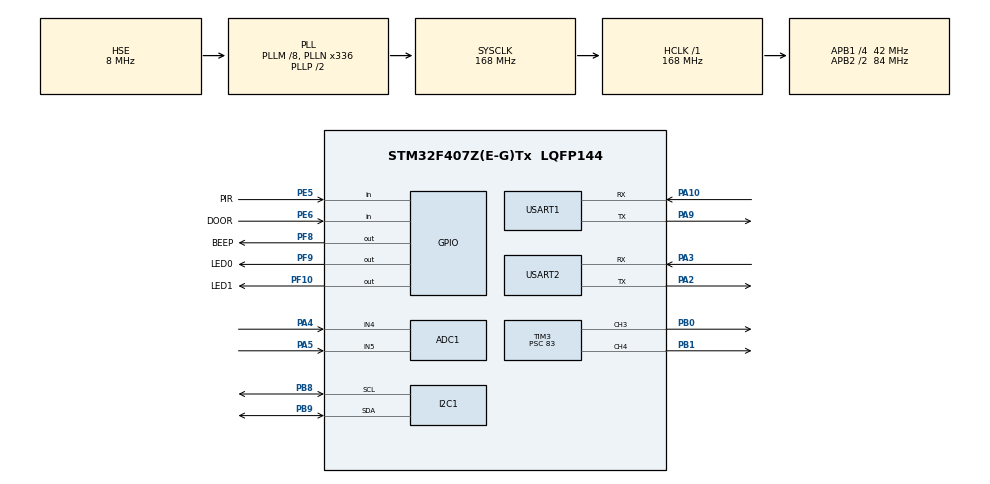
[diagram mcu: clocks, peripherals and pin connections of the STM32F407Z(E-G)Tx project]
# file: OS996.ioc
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ADC1.Channel-0\#ChannelRegularConversion=ADC_CHANNEL_4
ADC1.Channel-3\#ChannelRegularConversion=ADC_CHANNEL_5
ADC1.ContinuousConvMode=ENABLE
ADC1.DMAContinuousRequests=ENABLE
ADC1.DiscontinuousConvMode=DISABLE
ADC1.EnableAnalogWatchDog=false
ADC1.InjNumberOfConversion=0
ADC1.NbrOfConversion=2
ADC1.NbrOfConversionFlag=1
ADC1.Rank-0\#ChannelRegularConversion=1
ADC1.Rank-3\#ChannelRegularConversion=2
ADC1.SamplingTime-0\#ChannelRegularConversion=ADC_SAMPLETIME_84CYCLES
ADC1.SamplingTime-3\#ChannelRegularConversion=ADC_SAMPLETIME_84CYCLES
ADC1.ScanConvMode=ENABLE
ADC1.master=1
Dma.ADC1.2.Direction=DMA_PERIPH_TO_MEMORY
Dma.ADC1.2.FIFOMode=DMA_FIFOMODE_DISABLE
Dma.ADC1.2.Instance=DMA2_Stream0
Dma.ADC1.2.MemDataAlignment=DMA_MDATAALIGN_HALFWORD
Dma.ADC1.2.MemInc=DMA_MINC_ENABLE
Dma.ADC1.2.Mode=DMA_CIRCULAR
Dma.ADC1.2.PeriphDataAlignment=DMA_PDATAALIGN_HALFWORD
Dma.ADC1.2.PeriphInc=DMA_PINC_DISABLE
Dma.ADC1.2.Priority=DMA_PRIORITY_LOW
Dma.Request0=USART2_RX
Dma.Request1=USART2_TX
Dma.Request2=ADC1
Dma.USART2_RX.0.Direction=DMA_PERIPH_TO_MEMORY
Dma.USART2_RX.0.FIFOMode=DMA_FIFOMODE_DISABLE
Dma.USART2_RX.0.Instance=DMA1_Stream5
Dma.USART2_RX.0.MemDataAlignment=DMA_MDATAALIGN_BYTE
Dma.USART2_RX.0.MemInc=DMA_MINC_ENABLE
Dma.USART2_RX.0.Mode=DMA_CIRCULAR
Dma.USART2_RX.0.PeriphDataAlignment=DMA_PDATAALIGN_BYTE
Dma.USART2_RX.0.PeriphInc=DMA_PINC_DISABLE
Dma.USART2_RX.0.Priority=DMA_PRIORITY_LOW
Dma.USART2_TX.1.Direction=DMA_MEMORY_TO_PERIPH
Dma.USART2_TX.1.FIFOMode=DMA_FIFOMODE_DISABLE
Dma.USART2_TX.1.Instance=DMA1_Stream6
Dma.USART2_TX.1.MemDataAlignment=DMA_MDATAALIGN_BYTE
Dma.USART2_TX.1.MemInc=DMA_MINC_ENABLE
Dma.USART2_TX.1.Mode=DMA_NORMAL
Dma.USART2_TX.1.PeriphDataAlignment=DMA_PDATAALIGN_BYTE
Dma.USART2_TX.1.PeriphInc=DMA_PINC_DISABLE
Dma.USART2_TX.1.Priority=DMA_PRIORITY_LOW
FREERTOS.Tasks01=defaultTask,24,128,StartDefaultTask,Default,NULL,Dynamic,NULL,NULL;SensorTask,25,256,StartSensorTask,Default,NULL,Dynamic,NULL,NULL;CommTask,33,512,StartCommTask,Default,NULL,Dynamic,NULL,NULL;DisoalyTask,8,256,StartDisplayTask,Default,NULL,Dynamic,NULL,NULL;AlarmTask,25,256,startAlarmtask,Default,NULL,Dynamic,NULL,NULL
FREERTOS.configCHECK_FOR_STACK_OVERFLOW=2
FREERTOS.configTOTAL_HEAP_SIZE=30720
Mcu.Family=STM32F4
Mcu.Name=STM32F407Z(E-G)Tx
Mcu.Package=LQFP144
NVIC.DMA1_Stream5_IRQn=true\:5\:0\:false\:false\:true\:true\:false\:true\:true
NVIC.DMA1_Stream6_IRQn=true\:5\:0\:false\:false\:true\:true\:false\:true\:true
NVIC.DMA2_Stream0_IRQn=true\:5\:0\:false\:false\:true\:true\:false\:true\:true
NVIC.PriorityGroup=NVIC_PRIORITYGROUP_4
NVIC.TIM6_DAC_IRQn=true\:15\:0\:false\:false\:true\:false\:false\:true\:true
NVIC.TimeBase=TIM6_DAC_IRQn
NVIC.TimeBaseIP=TIM6
NVIC.USART1_IRQn=true\:5\:0\:false\:false\:true\:true\:true\:true\:true
NVIC.USART2_IRQn=true\:5\:0\:false\:false\:true\:true\:true\:true\:true
PA10.Mode=Asynchronous
PA10.Signal=USART1_RX
PA13.Mode=Serial_Wire
PA13.Signal=SYS_JTMS-SWDIO
PA14.Mode=Serial_Wire
PA14.Signal=SYS_JTCK-SWCLK
PA2.Mode=Asynchronous
PA2.Signal=USART2_TX
PA3.Mode=Asynchronous
PA3.Signal=USART2_RX
PA4.Signal=ADCx_IN4
PA5.Signal=ADCx_IN5
PA9.Mode=Asynchronous
PA9.Signal=USART1_TX
PB0.Signal=S_TIM3_CH3
PB1.Signal=S_TIM3_CH4
PB8.Mode=I2C
PB8.Signal=I2C1_SCL
PB9.Mode=I2C
PB9.Signal=I2C1_SDA
PE5.GPIO_Label=PIR
PE5.GPIO_PuPd=GPIO_PULLDOWN
PE5.Signal=GPIO_Input
PE6.GPIO_Label=DOOR
PE6.GPIO_PuPd=GPIO_PULLUP
PE6.Signal=GPIO_Input
PF10.GPIO_Label=LED1
PF10.PinState=GPIO_PIN_SET
PF10.Signal=GPIO_Output
PF8.GPIO_Label=BEEP
PF8.Signal=GPIO_Output
PF9.GPIO_Label=LED0
PF9.PinState=GPIO_PIN_SET
PF9.Signal=GPIO_Output
PH0-OSC_IN.Mode=HSE-External-Oscillator
PH0-OSC_IN.Signal=RCC_OSC_IN
PH1-OSC_OUT.Mode=HSE-External-Oscillator
PH1-OSC_OUT.Signal=RCC_OSC_OUT
ProjectManager.HeapSize=0x200
ProjectManager.StackSize=0x400
ProjectManager.TargetToolchain=CMake
RCC.48MHZClocksFreq_Value=84000000
RCC.AHBFreq_Value=168000000
RCC.APB1CLKDivider=RCC_HCLK_DIV4
RCC.APB1Freq_Value=42000000
RCC.APB1TimFreq_Value=84000000
RCC.APB2CLKDivider=RCC_HCLK_DIV2
RCC.APB2Freq_Value=84000000
RCC.APB2TimFreq_Value=168000000
RCC.CortexFreq_Value=168000000
RCC.HCLKFreq_Value=168000000
RCC.HSE_VALUE=8000000
RCC.HSI_VALUE=16000000
RCC.LSE_VALUE=32768
RCC.PLLM=8
RCC.PLLN=336
RCC.PLLSourceVirtual=RCC_PLLSOURCE_HSE
RCC.SYSCLKFreq_VALUE=168000000
RCC.SYSCLKSource=RCC_SYSCLKSOURCE_PLLCLK
RCC.VCOOutputFreq_Value=336000000
SH.ADCx_IN4.0=ADC1_IN4,IN4
SH.ADCx_IN5.0=ADC1_IN5,IN5
SH.S_TIM3_CH3.0=TIM3_CH3,PWM Generation3 CH3
SH.S_TIM3_CH4.0=TIM3_CH4,PWM Generation4 CH4
TIM3.Channel-PWM\ Generation3\ CH3=TIM_CHANNEL_3
TIM3.Channel-PWM\ Generation4\ CH4=TIM_CHANNEL_4
TIM3.Period=999
TIM3.Prescaler=83
USART1.VirtualMode=VM_ASYNC
USART2.VirtualMode=VM_ASYNC
VP_FREERTOS_VS_CMSIS_V2.Mode=CMSIS_V2
VP_SYS_VS_tim6.Mode=TIM6
board=custom

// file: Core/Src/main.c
/* USER CODE BEGIN Header */
/**
  ******************************************************************************
  * @file           : main.c
  * @brief          : Main program body
  ******************************************************************************
  * @attention
  *
  * Copyright (c) 2026 STMicroelectronics.
  * All rights reserved.
  *
  * This software is licensed under terms that can be found in the LICENSE file
  * in the root directory of this software component.
  * If no LICENSE file comes with this software, it is provided AS-IS.
  *
  ******************************************************************************
  */
/* USER CODE END Header */
#include "main.h"
#include "cmsis_os.h"

/* USER CODE BEGIN Includes */
#include <stdio.h>
#include <string.h>          /* memcpy / memset，协议载荷处理要用 */
#include "bsp_gxht30.h"
#include "bsp_pir.h"
#include "bsp_mq2.h"
#include "app_data.h"
#include "bsp_alarm.h"
#include "bsp_protocol.h"
#include "cJSON.h"
#include "log.h"
/* USER CODE END Includes */

ADC_HandleTypeDef hadc1;
DMA_HandleTypeDef hdma_adc1;

I2C_HandleTypeDef hi2c1;

TIM_HandleTypeDef htim3;

UART_HandleTypeDef huart1;
UART_HandleTypeDef huart2;
DMA_HandleTypeDef hdma_usart2_rx;
DMA_HandleTypeDef hdma_usart2_tx;

/* Definitions for defaultTask */
osThreadId_t defaultTaskHandle;
const osThreadAttr_t defaultTask_attributes = {
  .name = "defaultTask",
  .stack_size = 256 * 4,
  .priority = (osPriority_t) osPriorityNormal,
};
/* Definitions for SensorTask */
osThreadId_t SensorTaskHandle;
const osThreadAttr_t SensorTask_attributes = {
  .name = "SensorTask",
  .stack_size = 768 * 4,
  .priority = (osPriority_t) osPriorityNormal1,
};
/* Definitions for CommTask */
osThreadId_t CommTaskHandle;
const osThreadAttr_t CommTask_attributes = {
  .name = "CommTask",
  .stack_size = 512 * 4,
  .priority = (osPriority_t) osPriorityAboveNormal1,
};
/* Definitions for DisoalyTask */
osThreadId_t DisoalyTaskHandle;
const osThreadAttr_t DisoalyTask_attributes = {
  .name = "DisoalyTask",
  .stack_size = 384 * 4,
  .priority = (osPriority_t) osPriorityLow,
};
/* Definitions for AlarmTask */
osThreadId_t AlarmTaskHandle;
const osThreadAttr_t AlarmTask_attributes = {
  .name = "AlarmTask",
  .stack_size = 768 * 4,
  .priority = (osPriority_t) osPriorityNormal1,
};
/* USER CODE BEGIN PV */

/* 传感器数据队列：SensorTask 发送 → AlarmTask 接收 */
osMessageQueueId_t SensorQueueHandle;

/* 手动控制请求：CommTask（云端指令）写 → AlarmTask 读并合并 */
ctrl_request_t g_ctrl_req;

/* USER CODE END PV */

void SystemClock_Config(void);
static void MX_GPIO_Init(void);
static void MX_DMA_Init(void);
static void MX_USART1_UART_Init(void);
static void MX_USART2_UART_Init(void);
static void MX_ADC1_Init(void);
static void MX_I2C1_Init(void);
static void MX_TIM3_Init(void);
void StartDefaultTask(void *argument);
void StartSensorTask(void *argument);
void StartCommTask(void *argument);
void StartDisplayTask(void *argument);
void startAlarmtask(void *argument);

/* USER CODE BEGIN PFP */

/* 用户函数声明（避免隐式声明警告） */
void i2c_scan(void);

/* 协议帧回调：收到一帧完整且 CRC 正确的帧时，由 proto_rx_poll 内部调用。
 * 注册处：main() 的 USER CODE BEGIN 2 */
static void on_frame_received(uint8_t cmd, const uint8_t *payload, uint16_t len);

/* 处理 CMD_CTRL_DOWN（云端下发的控制指令） */
static void handle_ctrl_down(const uint8_t *payload, uint16_t len);

/* USER CODE END PFP */

int main(void)
{

  /* MCU Configuration--------------------------------------------------------*/

  /* Reset of all peripherals, Initializes the Flash interface and the Systick. */
  HAL_Init();

  /* Configure the system clock */
  SystemClock_Config();

  /* Initialize all configured peripherals */
  MX_GPIO_Init();
  MX_DMA_Init();
  MX_USART1_UART_Init();
  MX_USART2_UART_Init();
  MX_ADC1_Init();
  MX_I2C1_Init();
  MX_TIM3_Init();
  /* USER CODE BEGIN 2 */
  printf("\r\n");
  printf("========================================\r\n");
  printf("  OS996 Smart Home Project\r\n");
  printf("  Build: %s %s\r\n", __DATE__, __TIME__);
  printf("========================================\r\n");
  printf("  SYSCLK  = %lu Hz\r\n", (unsigned long)SystemCoreClock);
  printf("  HAL tick= %lu\r\n", (unsigned long)HAL_GetTick());

   /* 启动 ADC + DMA（必须在 osKernelStart() 之前！）*/
  mq2_init();
  printf("  ADC1+DMA started (MQ-2 gas sensor)\r\n");

  /* ------------------------------------------------------------------
   * 启动 USART2 的 DMA 接收 + 注册帧回调
   * ------------------------------------------------------------------
   * 为什么在调度器启动【之前】就启动 DMA？
   *   ① 外设初始化统一放在 main 里，任务启动时环境已就绪
   *   ② DMA 一启动就开始往环形缓冲区攒数据，
   *      不会因为"任务还没跑起来"而丢掉开头的几帧
   *
   * 为什么这里可以安全地注册回调？
   *   proto_set_handler 只是给一个函数指针赋值，不涉及 RTOS。
   *   回调真正被调用是在 CommTask 的 proto_rx_poll 里。
   * ------------------------------------------------------------------ */
  proto_set_handler(on_frame_received);
  proto_rx_init();
  printf("  USART2 RX armed (protocol parser ready)\r\n");

  /* 启动时扫描一次 I2C 总线，确认 SHT30 在线 */
  //i2c_scan();

  /* USER CODE END 2 */

  /* Init scheduler */
  osKernelInitialize();

  /* USER CODE BEGIN RTOS_MUTEX */
  /* add mutexes, ... */
   /* ------------------------------------------------------------------
   * 创建日志互斥量
   * ------------------------------------------------------------------
   * 为什么放在这里？
   *   ① 必须在 osKernelInitialize() 【之后】
   *      —— osMutexNew 需要内核控制块已初始化
   *   ② 必须在内核中最后一个任务创建【之前】
   *      —— 否则任务一启动就调用 log_printf，拿到 NULL 指针
   *   ③ 必须在 osKernelStart() 【之前】
   *      —— 调度器启动后就不能安全地创建内核对象了
   *
   * 这个位置正好满足全部三个条件。
   * ------------------------------------------------------------------ */
  log_init();
  /* USER CODE END RTOS_MUTEX */

  /* USER CODE BEGIN RTOS_QUEUES */
  /* add queues, ... */
  /* ------------------------------------------------------------------
   * 创建传感器数据队列
   * ------------------------------------------------------------------
   * 参数 1：最多存几个元素 —— 3 个足够（生产者每 50ms 一个，
   *         消费者处理只需几十微秒，几乎不会堆积）
   * 参数 2：每个元素的字节数 —— ★ 用 sizeof 让编译器算，不可能写错
   * 参数 3：NULL = 动态分配
   * ------------------------------------------------------------------ */
  SensorQueueHandle = osMessageQueueNew(3, sizeof(sensor_data_t), NULL);
  if (SensorQueueHandle == NULL) {
      Error_Handler();          /* 堆不够时返回 NULL，必须判空 */
  }
  /* USER CODE END RTOS_QUEUES */

  /* Create the thread(s) */
  /* creation of defaultTask */
  defaultTaskHandle = osThreadNew(StartDefaultTask, NULL, &defaultTask_attributes);

  /* creation of SensorTask */
  SensorTaskHandle = osThreadNew(StartSensorTask, NULL, &SensorTask_attributes);

  /* creation of CommTask */
  CommTaskHandle = osThreadNew(StartCommTask, NULL, &CommTask_attributes);

  /* creation of DisoalyTask */
  DisoalyTaskHandle = osThreadNew(StartDisplayTask, NULL, &DisoalyTask_attributes);

  /* creation of AlarmTask */
  AlarmTaskHandle = osThreadNew(startAlarmtask, NULL, &AlarmTask_attributes);

  /* Start scheduler */
  osKernelStart();

  /* We should never get here as control is now taken by the scheduler */

  /* Infinite loop */
  while (1)
  {

  }
}

void SystemClock_Config(void)
{
  RCC_OscInitTypeDef RCC_OscInitStruct = {0};
  RCC_ClkInitTypeDef RCC_ClkInitStruct = {0};

  /** Configure the main internal regulator output voltage
  */
  __HAL_RCC_PWR_CLK_ENABLE();
  __HAL_PWR_VOLTAGESCALING_CONFIG(PWR_REGULATOR_VOLTAGE_SCALE1);

  /** Initializes the RCC Oscillators according to the specified parameters
  * in the RCC_OscInitTypeDef structure.
  */
  RCC_OscInitStruct.OscillatorType = RCC_OSCILLATORTYPE_HSE;
  RCC_OscInitStruct.HSEState = RCC_HSE_ON;
  RCC_OscInitStruct.PLL.PLLState = RCC_PLL_ON;
  RCC_OscInitStruct.PLL.PLLSource = RCC_PLLSOURCE_HSE;
  RCC_OscInitStruct.PLL.PLLM = 8;
  RCC_OscInitStruct.PLL.PLLN = 336;
  RCC_OscInitStruct.PLL.PLLP = RCC_PLLP_DIV2;
  RCC_OscInitStruct.PLL.PLLQ = 4;
  if (HAL_RCC_OscConfig(&RCC_OscInitStruct) != HAL_OK)
  {
    Error_Handler();
  }

  /** Initializes the CPU, AHB and APB buses clocks
  */
  RCC_ClkInitStruct.ClockType = RCC_CLOCKTYPE_HCLK|RCC_CLOCKTYPE_SYSCLK
                              |RCC_CLOCKTYPE_PCLK1|RCC_CLOCKTYPE_PCLK2;
  RCC_ClkInitStruct.SYSCLKSource = RCC_SYSCLKSOURCE_PLLCLK;
  RCC_ClkInitStruct.AHBCLKDivider = RCC_SYSCLK_DIV1;
  RCC_ClkInitStruct.APB1CLKDivider = RCC_HCLK_DIV4;
  RCC_ClkInitStruct.APB2CLKDivider = RCC_HCLK_DIV2;

  if (HAL_RCC_ClockConfig(&RCC_ClkInitStruct, FLASH_LATENCY_5) != HAL_OK)
  {
    Error_Handler();
  }
}

static void MX_ADC1_Init(void)
{

  ADC_ChannelConfTypeDef sConfig = {0};

  /** Configure the global features of the ADC (Clock, Resolution, Data Alignment and number of conversion)
  */
  hadc1.Instance = ADC1;
  hadc1.Init.ClockPrescaler = ADC_CLOCK_SYNC_PCLK_DIV4;
  hadc1.Init.Resolution = ADC_RESOLUTION_12B;
  hadc1.Init.ScanConvMode = ENABLE;
  hadc1.Init.ContinuousConvMode = ENABLE;
  hadc1.Init.DiscontinuousConvMode = DISABLE;
  hadc1.Init.ExternalTrigConvEdge = ADC_EXTERNALTRIGCONVEDGE_NONE;
  hadc1.Init.ExternalTrigConv = ADC_SOFTWARE_START;
  hadc1.Init.DataAlign = ADC_DATAALIGN_RIGHT;
  hadc1.Init.NbrOfConversion = 2;
  hadc1.Init.DMAContinuousRequests = ENABLE;
  hadc1.Init.EOCSelection = ADC_EOC_SINGLE_CONV;
  if (HAL_ADC_Init(&hadc1) != HAL_OK)
  {
    Error_Handler();
  }

  /** Configure for the selected ADC regular channel its corresponding rank in the sequencer and its sample time.
  */
  sConfig.Channel = ADC_CHANNEL_4;
  sConfig.Rank = 1;
  sConfig.SamplingTime = ADC_SAMPLETIME_84CYCLES;
  if (HAL_ADC_ConfigChannel(&hadc1, &sConfig) != HAL_OK)
  {
    Error_Handler();
  }

  /** Configure for the selected ADC regular channel its corresponding rank in the sequencer and its sample time.
  */
  sConfig.Channel = ADC_CHANNEL_5;
  sConfig.Rank = 2;
  if (HAL_ADC_ConfigChannel(&hadc1, &sConfig) != HAL_OK)
  {
    Error_Handler();
  }

}

static void MX_I2C1_Init(void)
{

  hi2c1.Instance = I2C1;
  hi2c1.Init.ClockSpeed = 100000;
  hi2c1.Init.DutyCycle = I2C_DUTYCYCLE_2;
  hi2c1.Init.OwnAddress1 = 0;
  hi2c1.Init.AddressingMode = I2C_ADDRESSINGMODE_7BIT;
  hi2c1.Init.DualAddressMode = I2C_DUALADDRESS_DISABLE;
  hi2c1.Init.OwnAddress2 = 0;
  hi2c1.Init.GeneralCallMode = I2C_GENERALCALL_DISABLE;
  hi2c1.Init.NoStretchMode = I2C_NOSTRETCH_DISABLE;
  if (HAL_I2C_Init(&hi2c1) != HAL_OK)
  {
    Error_Handler();
  }

}

static void MX_TIM3_Init(void)
{

  TIM_MasterConfigTypeDef sMasterConfig = {0};
  TIM_OC_InitTypeDef sConfigOC = {0};

  htim3.Instance = TIM3;
  htim3.Init.Prescaler = 83;
  htim3.Init.CounterMode = TIM_COUNTERMODE_UP;
  htim3.Init.Period = 999;
  htim3.Init.ClockDivision = TIM_CLOCKDIVISION_DIV1;
  htim3.Init.AutoReloadPreload = TIM_AUTORELOAD_PRELOAD_DISABLE;
  if (HAL_TIM_PWM_Init(&htim3) != HAL_OK)
  {
    Error_Handler();
  }
  sMasterConfig.MasterOutputTrigger = TIM_TRGO_RESET;
  sMasterConfig.MasterSlaveMode = TIM_MASTERSLAVEMODE_DISABLE;
  if (HAL_TIMEx_MasterConfigSynchronization(&htim3, &sMasterConfig) != HAL_OK)
  {
    Error_Handler();
  }
  sConfigOC.OCMode = TIM_OCMODE_PWM1;
  sConfigOC.Pulse = 0;
  sConfigOC.OCPolarity = TIM_OCPOLARITY_HIGH;
  sConfigOC.OCFastMode = TIM_OCFAST_DISABLE;
  if (HAL_TIM_PWM_ConfigChannel(&htim3, &sConfigOC, TIM_CHANNEL_3) != HAL_OK)
  {
    Error_Handler();
  }
  if (HAL_TIM_PWM_ConfigChannel(&htim3, &sConfigOC, TIM_CHANNEL_4) != HAL_OK)
  {
    Error_Handler();
  }
  HAL_TIM_MspPostInit(&htim3);

}

static void MX_USART1_UART_Init(void)
{

  huart1.Instance = USART1;
  huart1.Init.BaudRate = 115200;
  huart1.Init.WordLength = UART_WORDLENGTH_8B;
  huart1.Init.StopBits = UART_STOPBITS_1;
  huart1.Init.Parity = UART_PARITY_NONE;
  huart1.Init.Mode = UART_MODE_TX_RX;
  huart1.Init.HwFlowCtl = UART_HWCONTROL_NONE;
  huart1.Init.OverSampling = UART_OVERSAMPLING_16;
  if (HAL_UART_Init(&huart1) != HAL_OK)
  {
    Error_Handler();
  }

}

static void MX_USART2_UART_Init(void)
{

  huart2.Instance = USART2;
  huart2.Init.BaudRate = 115200;
  huart2.Init.WordLength = UART_WORDLENGTH_8B;
  huart2.Init.StopBits = UART_STOPBITS_1;
  huart2.Init.Parity = UART_PARITY_NONE;
  huart2.Init.Mode = UART_MODE_TX_RX;
  huart2.Init.HwFlowCtl = UART_HWCONTROL_NONE;
  huart2.Init.OverSampling = UART_OVERSAMPLING_16;
  if (HAL_UART_Init(&huart2) != HAL_OK)
  {
    Error_Handler();
  }

}

static void MX_DMA_Init(void)
{

  /* DMA controller clock enable */
  __HAL_RCC_DMA1_CLK_ENABLE();
  __HAL_RCC_DMA2_CLK_ENABLE();

  /* DMA interrupt init */
  /* DMA1_Stream5_IRQn interrupt configuration */
  HAL_NVIC_SetPriority(DMA1_Stream5_IRQn, 5, 0);
  HAL_NVIC_EnableIRQ(DMA1_Stream5_IRQn);
  /* DMA1_Stream6_IRQn interrupt configuration */
  HAL_NVIC_SetPriority(DMA1_Stream6_IRQn, 5, 0);
  HAL_NVIC_EnableIRQ(DMA1_Stream6_IRQn);
  /* DMA2_Stream0_IRQn interrupt configuration */
  HAL_NVIC_SetPriority(DMA2_Stream0_IRQn, 5, 0);
  HAL_NVIC_EnableIRQ(DMA2_Stream0_IRQn);

}

static void MX_GPIO_Init(void)
{
  GPIO_InitTypeDef GPIO_InitStruct = {0};

  /* GPIO Ports Clock Enable */
  __HAL_RCC_GPIOE_CLK_ENABLE();
  __HAL_RCC_GPIOF_CLK_ENABLE();
  __HAL_RCC_GPIOH_CLK_ENABLE();
  __HAL_RCC_GPIOA_CLK_ENABLE();
  __HAL_RCC_GPIOB_CLK_ENABLE();

  /*Configure GPIO pin Output Level */
  HAL_GPIO_WritePin(BEEP_GPIO_Port, BEEP_Pin, GPIO_PIN_RESET);

  /*Configure GPIO pin Output Level */
  HAL_GPIO_WritePin(GPIOF, LED0_Pin|LED1_Pin, GPIO_PIN_SET);

  /*Configure GPIO pin : PIR_Pin */
  GPIO_InitStruct.Pin = PIR_Pin;
  GPIO_InitStruct.Mode = GPIO_MODE_INPUT;
  GPIO_InitStruct.Pull = GPIO_PULLDOWN;
  HAL_GPIO_Init(PIR_GPIO_Port, &GPIO_InitStruct);

  /*Configure GPIO pin : DOOR_Pin */
  GPIO_InitStruct.Pin = DOOR_Pin;
  GPIO_InitStruct.Mode = GPIO_MODE_INPUT;
  GPIO_InitStruct.Pull = GPIO_PULLUP;
  HAL_GPIO_Init(DOOR_GPIO_Port, &GPIO_InitStruct);

  /*Configure GPIO pins : BEEP_Pin LED0_Pin LED1_Pin */
  GPIO_InitStruct.Pin = BEEP_Pin|LED0_Pin|LED1_Pin;
  GPIO_InitStruct.Mode = GPIO_MODE_OUTPUT_PP;
  GPIO_InitStruct.Pull = GPIO_NOPULL;
  GPIO_InitStruct.Speed = GPIO_SPEED_FREQ_LOW;
  HAL_GPIO_Init(GPIOF, &GPIO_InitStruct);

}

/* USER CODE BEGIN 4 */
//#include <stdio.h>

/**
  * @brief  重定向 printf 到 USART1（板载 CH340）
  * @note   syscalls.c 里的 _write() 会调用这个函数，
  *         所以 printf / puts / fwrite 全都会走 USART1
  */
int __io_putchar(int ch)
{
    HAL_UART_Transmit(&huart1, (uint8_t *)&ch, 1, 0xFFFF);
    return ch;
}

/**
  * @brief  扫描 I2C1 总线上所有有应答的设备地址
  * ------------------------------------------------------------------
  * 原理：
  *   I2C 的 7 位地址空间是 1~127。对每个地址尝试一次"空写操作"
  *   （HAL_I2C_IsDeviceReady），如果从机在第 9 位拉低 SDA 应答，
  *   就说明这个地址上有设备。
  *
  * 为什么先写这个而不是直接写 SHT30 驱动：
  *   扫描器不依赖任何具体芯片，能独立验证【接线 / 供电 / 上拉 / 地址】。
  *   扫得到 -> I2C 外设配置正确，之后出错一定是驱动问题。
  *   扫不到 -> 硬件问题，不用去怀疑代码。
  *
  * 本板已知设备：
  *   0x44 = SHT30 温湿度
  *   0x3C = OLED SSD1306（若已接）
  *   0x50 = 板载 24C02 EEPROM
  * ------------------------------------------------------------------
  */
void i2c_scan(void)
{
    #define SCAN_PASSES   3          /* 扫描遍数 */

    uint8_t hits[128] = {0};         /* 每个地址被命中的次数 */
    uint8_t found = 0;

    log_printf("\r\n=== I2C1 bus scan (SCL=PB8, SDA=PB9) ===\r\n");
    log_printf("  scanning %u passes, only addresses that answer EVERY time are real\r\n",
           SCAN_PASSES);

    for (uint8_t pass = 0; pass < SCAN_PASSES; pass++)
    {
        for (uint8_t addr = 1; addr < 128; addr++)
        {
            /* 第 2 个参数要 8 位地址（7 位地址左移 1 位，最低位是 R/W） */
            /* 第 3 个参数 = 尝试次数，第 4 个 = 每次超时(ms) */
            if (HAL_I2C_IsDeviceReady(&hi2c1, (uint16_t)(addr << 1), 2, 10) == HAL_OK)
            {
                hits[addr]++;
            }
        }
        osDelay(50);                 /* 两遍之间歇一下 */
    }

    /* 只报告每次都有应答的地址 —— 那才是真实设备 */
    log_printf("  --- confirmed devices ---\r\n");
    for (uint8_t addr = 1; addr < 128; addr++)
    {
        if (hits[addr] == SCAN_PASSES)
        {
            log_printf("  0x%02X  (7-bit)   answered %u/%u\r\n",
                   addr, hits[addr], SCAN_PASSES);
            found++;
        }
    }

    /* 偶尔应答的，单独列出来 —— 这些是总线误判或干扰 */
    log_printf("  --- unreliable (ghost) addresses ---\r\n");
    {
        uint8_t ghost = 0;
        for (uint8_t addr = 1; addr < 128; addr++)
        {
            if (hits[addr] > 0 && hits[addr] < SCAN_PASSES)
            {
                log_printf("  0x%02X  (7-bit)   answered %u/%u  <-- NOT a real device\r\n",
                       addr, hits[addr], SCAN_PASSES);
                ghost++;
            }
        }
        if (ghost == 0) log_printf("  (none - bus is clean)\r\n");
    }

    if (found == 0)
    {
        log_printf("  NO confirmed device!\r\n");
        log_printf("  check: VCC=3.3V / SCL=PB8 / SDA=PB9 / GND\r\n");
    }
    else
    {
        log_printf("  total: %u confirmed device(s)\r\n", found);
    }

    log_printf("=== scan done ===\r\n\r\n");
}

/* ==================================================================
 *  协议帧接收处理（阶段 2）
 * ==================================================================
 *  调用链：
 *      USART2 ──DMA──> 环形缓冲区
 *                          │
 *                    CommTask: proto_rx_poll()
 *                          │
 *                    解析状态机（找帧头→CMD→LEN→载荷→CRC）
 *                          │ CRC 正确
 *                          ▼
 *                    on_frame_received()   ← 本函数
 *                          │
 *                    按 CMD 分派
 *                          ▼
 *                    handle_ctrl_down() → 写 g_ctrl_req
 *                          │
 *                    AlarmTask 读取并合并到执行器输出
 * ================================================================== */

/**
  * @brief  收到一帧完整且 CRC 正确的帧
  * @param  cmd     指令类型
  * @param  payload 载荷（★ 不是 '\0' 结尾）
  * @param  len     载荷长度
  * @note   本函数在 CommTask 上下文里执行，可以直接用 log_printf。
  */
static void on_frame_received(uint8_t cmd, const uint8_t *payload, uint16_t len)
{
    log_printf("[RX] <<< frame: cmd=0x%02X len=%u\r\n",
               (unsigned)cmd, (unsigned)len);

    /* 载荷是 JSON 文本，用 %.*s 打印（精度限制长度，
     * 这样即使 payload 不是 '\0' 结尾也不会读越界） */
    if (len > 0U) {
        log_printf("[RX]     payload: %.*s\r\n", (int)len, (const char *)payload);
    }

    switch (cmd)
    {
    case CMD_CTRL_DOWN:
        handle_ctrl_down(payload, len);
        break;

    case CMD_SENSOR_UP:
        /* 收到自己发出去的数据（回显测试时会走到这里）——
         * 说明解析链路正常，不需要处理内容，打一条日志即可 */
        log_printf("[RX]     (sensor frame looped back - parser OK)\r\n");
        break;

    case CMD_ACK:
    case CMD_HEARTBEAT:
        log_printf("[RX]     (ack/heartbeat, no action)\r\n");
        break;

    default:
        log_printf("[RX]     unknown cmd 0x%02X, ignored\r\n", (unsigned)cmd);
        break;
    }
}

/**
  * @brief  处理 CMD_CTRL_DOWN：云端下发的控制指令
  * @param  payload JSON 文本，例如 {"beep":1} 或 {"led":1,"beep":1}
  * @param  len     载荷长度
  * @note   不直接操作 GPIO —— 只写 g_ctrl_req，
  *         由 AlarmTask 统一决定执行器输出（避免资源竞争）。
  */
static void handle_ctrl_down(const uint8_t *payload, uint16_t len)
{
    /* ★ 必须用 static 而不是栈上数组：
     *   FRAME_MAX_PAYLOAD+1 = 201 字节，放栈上会让 CommTask 的
     *   栈瞬间少 201 字节；static 直接放在 .bss 里，零栈开销。
     *   （只有 CommTask 一个任务调用本函数，所以 static 也安全）*/
    static char s_json[FRAME_MAX_PAYLOAD + 1U];

    if (len > FRAME_MAX_PAYLOAD) {
        log_printf("[CTRL] payload too long (%u)\r\n", (unsigned)len);
        return;
    }

    /* cJSON 要求以 '\0' 结尾的字符串，但 payload 不是 —— 先拷贝补齐 */
    memcpy(s_json, payload, len);
    s_json[len] = '\0';

    cJSON *root = cJSON_Parse(s_json);
    if (root == NULL) {
        log_printf("[CTRL] JSON parse FAILED: %s\r\n", s_json);
        return;
    }

    /* ---- 取字段。用 GetObjectItem 而不是直接下标，
     *      因为字段可能不存在（cJSON 会返回 NULL）---- */
    cJSON *j_beep = cJSON_GetObjectItem(root, "beep");
    cJSON *j_led  = cJSON_GetObjectItem(root, "led");

    int beep = cJSON_IsNumber(j_beep) ? (int)j_beep->valuedouble : -1;
    int led  = cJSON_IsNumber(j_led)  ? (int)j_led->valuedouble  : -1;

    log_printf("[CTRL] parsed: beep=%d led=%d\r\n", beep, led);

    /* ---- 写入控制请求（由 AlarmTask 消费）----
     *
     * 为什么用"剩余周期数"而不是直接置 1/0：
     *   如果用户发 {"beep":1} 后忘了发 {"beep":0}，
     *   蜂鸣器会一直响。用定时脉冲（响 3 秒自动停）更安全，
     *   也符合"远程测试一下"的真实使用场景。
     *
     * 3 秒 = 3000ms ÷ 50ms/周期 = 60 个周期 */
    if (beep == 1) {
        g_ctrl_req.beep_remain = 60;      /* 响 3 秒 */
        log_printf("[CTRL] -> buzzer ON for 3s\r\n");
    } else if (beep == 0) {
        g_ctrl_req.beep_remain = 0;       /* 立即停 */
        log_printf("[CTRL] -> buzzer OFF\r\n");
    }

    if (led == 1) {
        g_ctrl_req.led_remain = 60;       /* 红灯亮 3 秒 */
        log_printf("[CTRL] -> red LED ON for 3s\r\n");
    } else if (led == 0) {
        g_ctrl_req.led_remain = 0;
        log_printf("[CTRL] -> red LED OFF\r\n");
    }

    cJSON_Delete(root);                   /* ★ 必须释放，否则每帧泄漏约 500 字节 */
}
/* USER CODE END 4 */

void StartDefaultTask(void *argument)
{
  /* USER CODE BEGIN 5 */
  /* ------------------------------------------------------------------
   * V1 验证：LED 闪烁测试
   * ------------------------------------------------------------------
   * 目的：验证「代码真的在跑 + GPIO 输出正常 + 时钟 / FreeRTOS 正常」
   *
   * 硬件（正点原子探索者 V3）：
   *   PF9  -> DS0（红色 LED）
   *   PF10 -> DS1（绿色 LED）
   *   均为低电平点亮（active-low），所以：
   *       HAL_GPIO_WritePin(..., GPIO_PIN_RESET)  -> 亮
   *       HAL_GPIO_WritePin(..., GPIO_PIN_SET)    -> 灭
   *
   * 现象：两个 LED 以 500ms 为半周期交替闪烁
   *   t=0.0s  DS0 亮  DS1 灭
   *   t=0.5s  DS0 灭  DS1 亮
   *   t=1.0s  DS0 亮  DS1 灭   ... 循环
   *
   * 注意：必须用 osDelay()，不能用 HAL_Delay()
   *       —— HAL 的时基已经换成 TIM6，但仍然应该让出 CPU 给其他任务
   * ------------------------------------------------------------------ */

  log_printf("[DefaultTask] started,stack free = %u words\r\n",
        (unsigned)uxTaskGetStackHighWaterMark(NULL));

  for(;;)
  {

    osDelay(1000);   /* 1000ms */
  }
  /* USER CODE END 5 */
}

void StartSensorTask(void *argument)
{
  /* USER CODE BEGIN StartSensorTask */
  // Infinite loop
  uint16_t gas_raw = 0;
  //float    gas_v = 0.0f;
  uint16_t gas_flt = 0;
  float    temp = 0.0f;
  float    humi = 0.0f;
  int      pir_state = PIR_NO_MOTION;
  uint32_t tick_cnt = 0;
  uint32_t ok = 0, err_i2c = 0, err_crc = 0;   // 统计三种结果出现次数
  sensor_data_t tx;                            /* 要发送的数据 */
  //uint16_t gas_raw_local = 0;

  log_printf("[SensorTask] started, stack free = %lu words\r\n",
       (unsigned long)uxTaskGetStackHighWaterMark(NULL));

   /* ================================================================
   * PIR 预热阶段
   * ================================================================
   * HC-SR501 手册："通电后有一分钟左右的初始化时间，在此期间模块会
   * 间隔地输出 0-3 次，一分钟后进入待机状态。"
   *
   * 所以这 60 秒内必须【丢弃】PIR 的读数，否则会误报"有人"。
   * 注意这里仍然调用 pir_read() —— 让内部状态机正常运转，
   * 只是不打印结果。
   * ================================================================ */

  log_printf("[SensorTask] PIR warming up, please wait 60s...\r\n");

  /*for (uint32_t i = 0; i < 60; i++)
  {
      pir_read();          // 让状态机跑，但结果不输出
      osDelay(1000);
  }

  //预热结束，重置状态
  pir_reset();
  pir_state = PIR_NO_MOTION;*/

  uint32_t warmup_cnt = 0;
  int warming_up = 1;

  for(;;)
  {
    if(warming_up){
      pir_read();
      if(++warmup_cnt >= 1200){
        warming_up = 0;
        pir_reset();
        log_printf("[SensorTask] PIR ready\r\n");
        }
      }else{
        //50ms读一次PIR
        int now = pir_read();
        if(now != pir_state){
        pir_state = now;
        log_printf("[PIR] %s\r\n",
               pir_state ? "motion DETECTED" : "motion cleared");
        }
      }

    /* ---- ★ 每 50ms 组装并发送一次数据给 AlarmTask ---- */
    tx.temp    = temp;
    tx.humi    = humi;
    tx.pir     = (uint8_t)pir_state;
    tx.gas_raw = mq2_read_raw();
    tx.gas_v   = mq2_read_voltage();
    tx.tick    = HAL_GetTick();

    /* 超时 0 = 不等待。队列满就丢弃这一条（对周期数据合理） */
    osMessageQueuePut(SensorQueueHandle, &tx, 0, 0);

     //2s读一次温湿度
     if (++tick_cnt >= 40)      // 40 × 50ms = 2000ms
    {
      tick_cnt = 0;

      int ret = gxht30_read(&temp, &humi);

      gas_raw = mq2_read_raw();
      gas_flt = mq2_read();
      //gas_v   = mq2_read_voltage();

      if (ret == GXHT30_OK)
      {
        ok++;
        int32_t t100 = (int32_t)(temp * 100.0f);
        int32_t h100 = (int32_t)(humi * 100.0f);

        log_printf("[DATA] T=%ld.%02ld C  H=%ld.%02ld %%RH  PIR=%s GAS=%ldmV (raw=%u flt=%u)  (ok=%lu i2c=%lu crc=%lu)\r\n",
               (long)(t100 / 100), (long)(t100 % 100),
               (long)(h100 / 100), (long)(h100 % 100),
               warming_up ? "warmup" : (pir_state ? "1" : "0"),
               (long)(tx.gas_v * 1000.0f),      /* 电压转成 mV，用整数打印 */
               (unsigned)gas_raw,(unsigned)gas_flt,
               (unsigned long)ok, (unsigned long)err_i2c, (unsigned long)err_crc);

        /* ================================================================
         * 通过 USART2 给 ESP32 发送一帧传感器数据（JSON 载荷）
         * ================================================================
         * 用 cJSON 组包，再交给帧协议封装。
         *
         * 为什么用 cJSON 而不是 snprintf 拼字符串？
         *   ① 转义安全：字符串里有引号/反斜杠时自动转义
         *   ② 结构清晰：增删字段只改一处，不会漏逗号
         *   ③ 浮点处理：cJSON_AddNumberToObject 内部处理精度
         *   ④ 可反向解析：收到的指令也用同一套库解
         * ================================================================ */
          static uint32_t seq = 0;

          cJSON *root = cJSON_CreateObject();
          if (root != NULL)
          {
            cJSON_AddNumberToObject(root, "t",    temp);   /* 温度，直接传 float */
            cJSON_AddNumberToObject(root, "h",    humi);   /* 湿度 */
            cJSON_AddNumberToObject(root, "pir",  pir_state);
            cJSON_AddNumberToObject(root, "gas",  tx.gas_v);      /* 电压(V) */
            cJSON_AddNumberToObject(root, "raw",  gas_raw);       /* ADC 原始值 */
            cJSON_AddNumberToObject(root, "flt",  gas_flt);       /* EMA 滤波后 */
            cJSON_AddNumberToObject(root, "warm", warming_up);
            cJSON_AddNumberToObject(root, "seq",  seq++);
            cJSON_AddNumberToObject(root, "ok",   ok);
            cJSON_AddNumberToObject(root, "ierr", err_i2c);
            cJSON_AddNumberToObject(root, "cerr", err_crc);

            /* cJSON_PrintUnformatted = 无空格紧凑格式（省带宽）
             * ★ 它返回 malloc 出来的字符串，用完必须 free！ */
            char *json = cJSON_PrintUnformatted(root);

            if (json != NULL)
            {
                int r = proto_send_json(CMD_SENSOR_UP, json, 100);
                if (r != 0)
                {
                    log_printf("[PROTO] send failed: %d\r\n", r);
                }
                cJSON_free(json);      /* ★ 不 free 会内存泄漏，最终 malloc 失败 */
            }
            else
            {
                log_printf("[PROTO] cJSON_Print failed (out of memory?)\r\n");
            }

            cJSON_Delete(root);        /* ★ 释放整个对象树 */
          }
          else
          {
            log_printf("[PROTO] cJSON_CreateObject failed\r\n");
          }
        /* ---- 每 30 秒打印一次内存状况（查泄漏 / 查栈够不够）---- */
        static uint32_t heap_log_cnt = 0;
        if (++heap_log_cnt >= 15)
        {
            heap_log_cnt = 0;
            log_printf("[MEM] heap=%luB(min %lu) stack=%luW  <- watch these two\r\n",
                   (unsigned long)xPortGetFreeHeapSize(),
                   (unsigned long)xPortGetMinimumEverFreeHeapSize(),
                   (unsigned long)uxTaskGetStackHighWaterMark(NULL));
        }
      }
      else if (ret == GXHT30_ERR_I2C)
      {
        err_i2c++;
        log_printf("[DATA] I2C ERROR  (ok=%lu i2c=%lu crc=%lu)\r\n",
               (unsigned long)ok, (unsigned long)err_i2c, (unsigned long)err_crc);
      }
      else
      {
        err_crc++;
        log_printf("[DATA] CRC ERROR  (ok=%lu i2c=%lu crc=%lu)\r\n",
               (unsigned long)ok, (unsigned long)err_i2c, (unsigned long)err_crc);
      }
    }
    osDelay(50);
  }
  /* USER CODE END StartSensorTask */
}

void StartCommTask(void *argument)
{
  /* USER CODE BEGIN StartCommTask */
  /* ==================================================================
   * 通信任务 —— 负责 STM32 ↔ ESP32 的帧收发
   * ==================================================================
   * 职责：
   *   ① 轮询 DMA 环形缓冲区，把新字节喂给协议解析状态机
   *   ② 收满一帧且 CRC 正确时，由回调 on_frame_received 分派处理
   *
   * 为什么轮询周期选 20ms？
   *   · 帧速率：ESP32 每 2 秒最多发几帧 → 20ms 完全够
   *   · 一帧最大 206 字节，115200 波特率下传输约 18ms
   *     所以 20ms 内最多积攒约一帧，不会溢出 256 字节缓冲区
   *   · 20ms × 50 次/秒 = 只占 CPU 极小比例
   *
   * 为什么不用更高优先级去"抢"？
   *   本任务优先级已经是 AboveNormal1(32)，比 SensorTask/AlarmTask 高，
   *   但 proto_rx_poll 本身几乎不耗时（无数据时只读一次 DMA 计数器），
   *   所以不会饿死其他任务。
   * ================================================================== */

  log_printf("[CommTask] started, stack free = %lu words\r\n",
             (unsigned long)uxTaskGetStackHighWaterMark(NULL));
  log_printf("[CommTask] listening on USART2 (DMA circular), poll every 20ms\r\n");

  for(;;)
  {
    /* ---- 核心：处理收到的字节 ---- */
    proto_rx_poll();

    /* ---- 每 10 秒报告一次接收统计（验证链路健康）---- */
    static uint32_t stat_cnt = 0;
    if (++stat_cnt >= 500)              /* 500 × 20ms = 10 秒 */
    {
        stat_cnt = 0;
        const proto_rx_stats_t *st = proto_get_rx_stats();
        log_printf("[CommTask] rx: bytes=%lu frames=%lu | err: crc=%lu len=%lu\r\n",
                   (unsigned long)st->bytes_in,
                   (unsigned long)st->frames_ok,
                   (unsigned long)st->err_crc,
                   (unsigned long)st->err_len);
    }

    osDelay(20);
  }
  /* USER CODE END StartCommTask */
}

void StartDisplayTask(void *argument)
{
  for(;;)
  {
    osDelay(1);
  }
}

void startAlarmtask(void *argument)
{
  /* USER CODE BEGIN startAlarmtask */
  /* Infinite loop */
  /* ==================================================================
   * 告警任务 —— 场景联动
   * ==================================================================
   * 职责：
   *   ① 【独占】LED0 / LED1 / 蜂鸣器 三个执行器（其他任务不碰）
   *   ② 从 SensorQueue 接收传感器数据
   *   ③ 判断报警条件，驱动执行器
   *
   * 报警条件：气体电压 > 阈值  且  PIR 检测到有人
   *
   * 为什么要"去抖"：
   *   报警条件可能在阈值附近快速反复变化 → LED/蜂鸣器会抖动。
   *   用"连续 N 次满足才成立"来消抖，和 PIR 的消抖是同一个思路。
   * ================================================================== */

  #define GAS_ALARM_THRESHOLD_MV   1000      /* ★ 报警阈值，单位 mV */
  #define ALARM_DEBOUNCE_CNT       6         /* 连续 6 次满足才认定 */
  #define ALARM_EVAL_PERIOD_MS     50        /* 评估周期 */

  sensor_data_t rx;
  int      alarm_on     = 0;                   /* 当前报警状态 */
  uint8_t  cond_cnt     = 0;                   /* 条件连续满足次数 */
  uint32_t blink_cnt    = 0;                   /* 报警闪烁计数 */

  alarm_all_off();                             /* 上电先全部关闭 */

  log_printf("[AlarmTask] started, stack free = %lu words\r\n",
         (unsigned long)uxTaskGetStackHighWaterMark(NULL));
  log_printf("[AlarmTask] threshold = %d mV, need PIR=1 + gas above\r\n",
         GAS_ALARM_THRESHOLD_MV);
  log_printf("[AlarmTask] stack after 3 printfs = %lu words\r\n",
         (unsigned long)uxTaskGetStackHighWaterMark(NULL));

  for(;;)
  {
    /* ---- 1) 从队列收数据（最多等 50ms）---- */
    if (osMessageQueueGet(SensorQueueHandle, &rx, NULL, ALARM_EVAL_PERIOD_MS) == osOK)
    {
      /* ---- 2) 判断报警条件 ---- */
      int cond = (rx.gas_v * 1000.0f > GAS_ALARM_THRESHOLD_MV) && (rx.pir == 1);

      if (cond) {
          if (cond_cnt < ALARM_DEBOUNCE_CNT) cond_cnt++;
      } else {
          cond_cnt = 0;                        /* 条件不成立，计数清零 */
      }

      int want_alarm = (cond_cnt >= ALARM_DEBOUNCE_CNT);

      /* ---- 3) 状态变化时打印一次（避免刷屏）---- */
      if (want_alarm != alarm_on)
      {
          alarm_on = want_alarm;
          if (alarm_on) {
              log_printf("[ALARM] *** ON ***  gas=%ldmV pir=%u\r\n",
                     (long)(rx.gas_v * 1000.0f), rx.pir);
          } else {
              log_printf("[ALARM] --- OFF ---  gas=%ldmV pir=%u\r\n",
                     (long)(rx.gas_v * 1000.0f), rx.pir);
              alarm_all_off();
          }
      }
    }
    else
    {
      /* 超时没收到数据（不应该发生）——当作正常评估一次超时处理 */
    }

    /* ---- 4) 驱动执行器 ----
     *
     * ★ 全工程【只有这里】写 LED 和蜂鸣器。
     *   SensorTask 采集数据、CommTask 收云端指令，都不直接碰 GPIO，
     *   这样不存在"两个任务抢同一引脚"的资源竞争。
     *
     * 输出 = 自动报警逻辑  OR  手动请求（云端指令）
     *   手动请求优先级更高：用户主动要求时立刻响应。
     *   手动请求是"限时脉冲"（默认 3 秒），到期自动回落，
     *   不会因为用户忘了发关闭指令而一直响。 */

    uint8_t out_red   = 0;
    uint8_t out_beep  = 0;
    uint8_t out_green = 1;      /* 默认绿灯常亮 = 系统运行中 */

    /* ---- ① 自动报警逻辑 ---- */
    if (alarm_on)
    {
      /* 报警：LED0 + 蜂鸣器 以 250ms 为半周期闪烁鸣叫 */
      blink_cnt++;
      uint8_t phase = (uint8_t)((blink_cnt / 5) % 2);   /* 5×50ms = 250ms */

      out_red   = phase;
      out_beep  = phase;
      out_green = 0;            /* 报警时绿灭 */
    }
    else
    {
      blink_cnt = 0;
      out_red   = 0;
      out_beep  = 0;
      out_green = 1;
    }

    /* ---- ② 手动请求叠加（云端指令，限时脉冲）----
     *
     * "先判断再递减"的顺序很重要：
     *   如果先递减后判断，在 remain 从 1 减到 0 的那一周期里
     *   会少亮一个周期（off-by-one）。
     *   先输出、后递减，保证 remain=N 时正好输出 N 个周期。 */
    if (g_ctrl_req.led_remain > 0U)
    {
      out_red = 1;
      g_ctrl_req.led_remain--;
    }

    if (g_ctrl_req.beep_remain > 0U)
    {
      out_beep = 1;
      g_ctrl_req.beep_remain--;
    }

    /* ---- ③ 统一输出（唯一一处写 GPIO）---- */
    alarm_led_red(out_red);
    alarm_beep(out_beep);
    alarm_led_green(out_green);
  }
  /* USER CODE END startAlarmtask */
}

void HAL_TIM_PeriodElapsedCallback(TIM_HandleTypeDef *htim)
{
  if (htim->Instance == TIM6)
  {
    HAL_IncTick();
  }
}

void Error_Handler(void)
{
  __disable_irq();
  while (1)
  {
  }
}

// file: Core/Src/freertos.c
/* USER CODE BEGIN Header */
/**
  ******************************************************************************
  * File Name          : freertos.c
  * Description        : Code for freertos applications
  ******************************************************************************
  * @attention
  *
  * Copyright (c) 2026 STMicroelectronics.
  * All rights reserved.
  *
  * This software is licensed under terms that can be found in the LICENSE file
  * in the root directory of this software component.
  * If no LICENSE file comes with this software, it is provided AS-IS.
  *
  ******************************************************************************
  */
/* USER CODE END Header */

#include "FreeRTOS.h"
#include "task.h"
#include "main.h"

/* USER CODE BEGIN Includes */
#include <string.h>          /* strlen()，栈溢出钩子里要用 */
/* USER CODE END Includes */

/* Hook prototypes */
void vApplicationStackOverflowHook(xTaskHandle xTask, signed char *pcTaskName);

/* USER CODE BEGIN 4 */
void vApplicationStackOverflowHook(xTaskHandle xTask, signed char *pcTaskName)
{
   /* ==================================================================
    * 栈溢出钩子
    * ==================================================================
    * configCHECK_FOR_STACK_OVERFLOW = 2 时会调用到这里。
    *
    * 检查方式（方法 2 的原理）：
    *   每个任务创建时，栈顶 16 个字节被填成魔数 0xA5A5A5A5。
    *   任务切换时检查这 16 字节是否还完好 —— 被改写说明栈用超了。
    *
    * ★ 这里【不能用 printf】：
    *     printf 自身要压约 100~200 字节栈，
    *     在栈已经溢出的情况下调用它 → 二次溢出 → 可能 HardFault 死循环。
    *     所以必须用最原始的阻塞发送。
    *
    * ★ 这里【不能 return】：
    *     栈已经坏了，继续运行行为不可预测（可能破坏其他任务的栈）。
    *     死循环是"安全失败"——问题被锁在原地，方便用调试器查看现场。
    *     调试器此时可以暂停，查看 xTask 和 pcTaskName 找到是哪个任务。
    * ================================================================== */
   const char *msg1 = "\r\n*** STACK OVERFLOW! ***\r\n";
   const char *msg2 = "*** task: ";
   const char *msg3 = " ***\r\n*** system halted ***\r\n";

   HAL_UART_Transmit(&huart1, (uint8_t *)msg1, 28, 100);
   HAL_UART_Transmit(&huart1, (uint8_t *)msg2, 10, 100);
   if (pcTaskName != NULL)
   {
      HAL_UART_Transmit(&huart1, (uint8_t *)pcTaskName,
                        (uint16_t)strlen((const char *)pcTaskName), 100);
   }
   HAL_UART_Transmit(&huart1, (uint8_t *)msg3, 33, 100);

   /* 死循环：让调试器能停在这里看现场 */
   taskDISABLE_INTERRUPTS();
   for (;;)
   {
      /* 什么也不做 */
   }
}
/* USER CODE END 4 */
